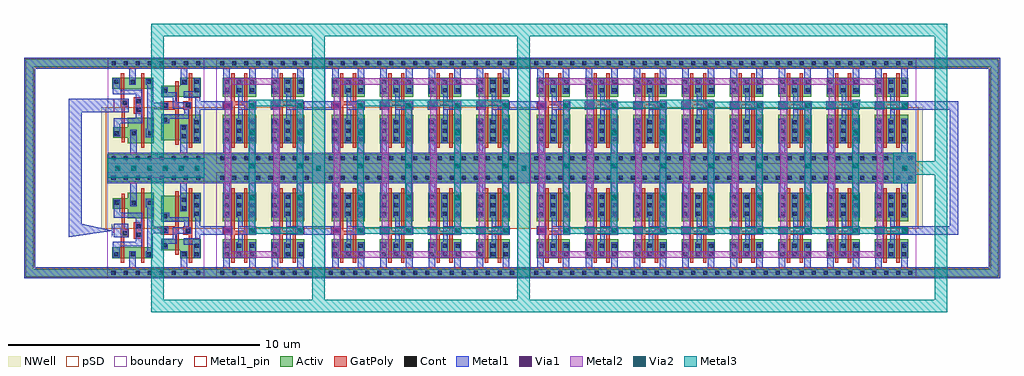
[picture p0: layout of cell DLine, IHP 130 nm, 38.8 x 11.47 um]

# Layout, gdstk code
import gdstk
lib = gdstk.Library(unit=1e-6, precision=1e-09)
def R(c, l, rs):  # rectangles x0, y0, x1, y1
    for r in rs: c.add(gdstk.rectangle(r[:2], r[2:], *l))
def A(c, l, x, y, w, h, nx, ny, dx, dy):  # array of equal rectangles
    R(c, l, [(x+i*dx, y+j*dy, x+i*dx+w, y+j*dy+h) for i in range(nx) for j in range(ny)])
def P(c, l, *ps):  # polygons
    for p in ps: c.add(gdstk.Polygon(p, *l))
Activ = (1, 0)
GatPoly = (5, 0)
Cont = (6, 0)
Metal1 = (8, 0)
Metal1_pin = (8, 2)
Metal2 = (10, 0)
pSD = (14, 0)
Via1 = (19, 0)
Via2 = (29, 0)
Metal3 = (30, 0)
NWell = (31, 0)
boundary = (189, 4)

sg13g2_dlygate4sd1_1 = lib.new_cell('sg13g2_dlygate4sd1_1')
R(sg13g2_dlygate4sd1_1, Activ, [(0,-0.15,3.84,0.15), (0.19,0.59,1.81,1.01), (0,3.63,3.84,3.93)])
P(sg13g2_dlygate4sd1_1, Activ, [(2.895,0.59),(2.895,0.91),(2.13,0.91),(2.13,1.33),(3.705,1.33),(3.705,0.59)],
  [(2.13,2.06),(2.13,3.06),(2.91,3.06),(2.91,3.18),(3.705,3.18),(3.705,2.06)],
  [(0.8,2.18),(0.8,2.555),(0.22,2.555),(0.22,2.975),(0.8,2.975),(0.8,3.18),(1.84,3.18),(1.84,2.18)])
P(sg13g2_dlygate4sd1_1, GatPoly, [(2.695,0.73),(2.695,1.52),(2.12,1.52),(2.12,1.85),(2.695,1.85),(2.695,3.24),(2.825,3.24),(2.825,0.73)],
  [(0.53,0.41),(0.53,1.74),(0.56,1.74),(0.56,3.155),(0.69,3.155),(0.69,1.74),(0.84,1.74),(0.84,1.41),(0.66,1.41),(0.66,0.41)],
  [(1.34,0.41),(1.34,1.35),(1.05,1.35),(1.05,2.02),(1.34,2.02),(1.34,3.36),(1.47,3.36),(1.47,0.41)],
  [(3.235,0.41),(3.235,1.515),(3.02,1.515),(3.02,1.845),(3.235,1.845),(3.235,3.36),(3.365,3.36),(3.365,0.41)])
A(sg13g2_dlygate4sd1_1, Cont, 0.16, -0.08, 0.16, 0.16, 8, 2, 0.48, 3.78)
A(sg13g2_dlygate4sd1_1, Cont, 0.26, 0.66, 0.16, 0.16, 3, 1, 0.66, 0)
A(sg13g2_dlygate4sd1_1, Cont, 3.475, 2.27, 0.16, 0.16, 1, 3, 0, 0.34)
R(sg13g2_dlygate4sd1_1, Cont, [(2.965,0.66,3.125,0.82), (3.475,0.66,3.635,0.82), (3.475,1,3.635,1.16), (2.2,1.015,2.36,1.175), (1.165,1.435,1.325,1.595), (0.605,1.495,0.765,1.655), (3.105,1.6,3.265,1.76), (2.205,1.605,2.365,1.765), (1.165,1.775,1.325,1.935), (2.215,2.165,2.375,2.325), (2.95,2.495,3.11,2.655), (0.29,2.7,0.45,2.86), (0.96,2.7,1.12,2.86), (1.61,2.7,1.77,2.86), (2.95,2.835,3.11,2.995)])
R(sg13g2_dlygate4sd1_1, Metal1, [(3.025,1.12,3.685,1.37), (0.24,1.425,0.835,1.945)])
P(sg13g2_dlygate4sd1_1, Metal1, [(2.155,0.96),(2.155,1.36),(2.595,1.36),(2.595,1.81),(3.045,1.81),(3.045,2.03),(2.14,2.03),(2.14,2.395),(2.45,2.395),(2.45,2.205),(3.235,2.205),(3.235,1.81),(3.315,1.81),(3.315,1.55),(2.755,1.55),(2.755,1.16),(2.395,1.16),(2.395,0.96)],
  [(3.425,0.61),(3.425,1.37),(3.495,1.37),(3.495,2.22),(3.43,2.22),(3.43,3.16),(3.685,3.16),(3.685,0.61)],
  [(1.52,0.615),(1.52,0.87),(1.58,0.87),(1.58,2.615),(1.52,2.615),(1.52,2.945),(1.825,2.945),(1.825,1.83),(2.415,1.83),(2.415,1.57),(1.81,1.57),(1.81,0.615)],
  [(0.21,0.61),(0.21,1.24),(1.12,1.24),(1.12,2.195),(0.24,2.195),(0.24,2.91),(0.5,2.91),(0.5,2.4),(1.375,2.4),(1.375,1.065),(0.48,1.065),(0.48,0.61)],
  [(2.9,2.455),(2.9,3.56),(1.17,3.56),(1.17,2.65),(0.91,2.65),(0.91,3.56),(0,3.56),(0,4),(3.84,4),(3.84,3.56),(3.16,3.56),(3.16,2.455)],
  [(0,-0.22),(0,0.22),(0.87,0.22),(0.87,0.87),(1.13,0.87),(1.13,0.22),(2.915,0.22),(2.915,0.87),(3.175,0.87),(3.175,0.22),(3.84,0.22),(3.84,-0.22)])
R(sg13g2_dlygate4sd1_1, Metal1_pin, [(0,-0.22,3.84,0.22), (3.025,1.12,3.685,1.37), (0.24,1.425,0.835,1.945), (0,3.56,3.84,4)])
R(sg13g2_dlygate4sd1_1, pSD, [(-0.07,-0.18,3.91,0.18), (-0.07,1.76,3.91,3.6)])
R(sg13g2_dlygate4sd1_1, NWell, [(-0.24,1.75,4.08,4.17)])
R(sg13g2_dlygate4sd1_1, boundary, [(0,0,3.84,3.78)])
sg13g2_dlygate4sd1_1.add(gdstk.Label('X', (3.36,1.26), layer=8, texttype=25))
sg13g2_dlygate4sd1_1.add(gdstk.Label('VDD', (2.085,3.79), layer=8, texttype=25))
sg13g2_dlygate4sd1_1.add(gdstk.Label('VSS', (2.2,0.005), layer=8, texttype=25))
sg13g2_dlygate4sd1_1.add(gdstk.Label('A', (0.52,1.68), layer=8, texttype=25))

sg13g2_inv_2 = lib.new_cell('sg13g2_inv_2')
R(sg13g2_inv_2, Activ, [(0,-0.15,1.92,0.15), (0.265,0.59,1.585,1.33), (0.265,2.06,1.59,3.18), (0,3.63,1.92,3.93)])
P(sg13g2_inv_2, GatPoly, [(0.605,0.41),(0.605,1.52),(0.305,1.52),(0.305,1.85),(0.605,1.85),(0.605,3.36),(0.735,3.36),(0.735,1.67),(1.115,1.67),(1.115,3.36),(1.245,3.36),(1.245,0.41),(1.115,0.41),(1.115,1.52),(0.735,1.52),(0.735,0.41)])
A(sg13g2_inv_2, Cont, 0.335, 0.66, 0.16, 0.16, 3, 2, 0.51, 0.34)
A(sg13g2_inv_2, Cont, 0.335, 2.27, 0.16, 0.16, 1, 3, 0, 0.34)
A(sg13g2_inv_2, Cont, 0.845, 2.27, 0.16, 0.16, 1, 3, 0, 0.34)
A(sg13g2_inv_2, Cont, 1.36, 2.27, 0.16, 0.16, 1, 3, 0, 0.34)
R(sg13g2_inv_2, Cont, [(0.16,-0.08,0.32,0.08), (0.16,-0.08,0.32,0.08), (0.64,-0.08,0.8,0.08), (0.64,-0.08,0.8,0.08), (1.12,-0.08,1.28,0.08), (1.12,-0.08,1.28,0.08), (1.6,-0.08,1.76,0.08), (1.6,-0.08,1.76,0.08), (0.39,1.605,0.55,1.765), (0.16,3.7,0.32,3.86), (0.16,3.7,0.32,3.86), (0.64,3.7,0.8,3.86), (0.64,3.7,0.8,3.86), (1.12,3.7,1.28,3.86), (1.12,3.7,1.28,3.86), (1.6,3.7,1.76,3.86), (1.6,3.7,1.76,3.86)])
R(sg13g2_inv_2, Metal1, [(0.255,1.52,0.635,1.85)])
P(sg13g2_inv_2, Metal1, [(0.285,2.22),(0.285,3.56),(0,3.56),(0,4),(1.92,4),(1.92,3.56),(1.57,3.56),(1.57,2.22),(1.31,2.22),(1.31,3.56),(0.545,3.56),(0.545,2.22)],
  [(0,-0.22),(0,0.22),(0.285,0.22),(0.285,1.21),(0.545,1.21),(0.545,0.22),(1.305,0.22),(1.305,1.21),(1.565,1.21),(1.565,0.22),(1.92,0.22),(1.92,-0.22)],
  [(0.795,0.61),(0.795,1.21),(0.87,1.21),(0.87,2.22),(0.795,2.22),(0.795,3.18),(1.055,3.18),(1.055,1.85),(1.59,1.85),(1.59,1.52),(1.055,1.52),(1.055,0.61)])
R(sg13g2_inv_2, Metal1_pin, [(0,-0.22,1.92,0.22), (0.255,1.52,0.635,1.85), (0.87,1.52,1.59,1.85), (0,3.56,1.92,4)])
R(sg13g2_inv_2, pSD, [(-0.07,-0.18,1.99,0.18), (-0.07,1.76,1.99,3.6)])
R(sg13g2_inv_2, NWell, [(-0.24,1.75,2.16,4.17)])
R(sg13g2_inv_2, boundary, [(0,0,1.92,3.78)])
sg13g2_inv_2.add(gdstk.Label('VSS', (0.89,0), layer=8, texttype=25))
sg13g2_inv_2.add(gdstk.Label('VDD', (0.935,3.785), layer=8, texttype=25))
sg13g2_inv_2.add(gdstk.Label('Y', (1.44,1.68), layer=8, texttype=25))
sg13g2_inv_2.add(gdstk.Label('A', (0.48,1.68), layer=8, texttype=25))

dline = lib.new_cell('DLine')
R(dline, Activ, [(1.07,-0.15,1.22,8.49), (1.22,-0.15,4.318,0.145), (1.22,-0.15,1.37,8.49), (8.158,-0.15,8.64,0.15), (12.475,-0.15,12.96,0.15), (20.64,-0.15,21.122,0.15), (36.48,-0.15,39.58,0.15), (39.43,-0.15,39.58,8.49), (39.58,-0.15,39.73,8.49), (4.318,3.63,36.48,4.71), (8.158,3.63,8.64,3.93), (12.478,3.63,12.96,3.93), (20.638,3.63,21.12,3.93), (8.158,4.41,8.64,4.71), (12.478,4.41,12.96,4.71), (20.638,4.41,21.12,4.71), (1.22,8.19,4.32,8.49), (8.158,8.19,8.64,8.49), (12.478,8.19,12.96,8.49), (20.64,8.19,21.122,8.49)])
P(dline, Activ, [(36.48,8.19),(36.48,8.325),(36.48,8.49),(39.58,8.49),(39.58,8.19),(36.55,8.19)])
R(dline, Metal1, [(8.158,-0.22,8.64,0.22), (12.475,-0.22,12.96,0.22), (20.64,-0.22,21.122,0.22), (4.32,3.56,36.48,4.78), (8.158,3.56,8.64,4), (12.478,3.56,12.96,4), (20.638,3.56,21.12,4), (8.158,4.34,8.64,4.78), (12.478,4.34,12.96,4.78), (20.638,4.34,21.12,4.78), (8.158,8.12,8.64,8.56), (12.478,8.12,12.96,8.56), (20.64,8.12,21.122,8.56)])
R(dline, Metal2, [(12.453,3.56,12.95,4.78), (20.61,3.56,21.145,4.78), (35.565,3.56,36.48,4.78), (4.32,3.78,8.158,4.56)])
R(dline, pSD, [(1.04,-0.18,4.248,0.18), (8.228,-0.18,8.57,0.18), (12.545,-0.18,12.89,0.18), (20.71,-0.18,21.052,0.18), (36.55,-0.18,39.4,0.18), (39.4,-0.18,39.76,8.16), (1.04,0.18,1.4,8.52), (4.248,1.76,36.55,6.58), (8.228,1.76,8.57,3.6), (12.549,1.76,12.89,3.6), (20.71,1.76,21.05,3.6), (8.23,4.74,8.57,6.58), (12.55,4.74,12.89,6.58), (20.71,4.74,21.05,6.58), (1.4,8.16,4.25,8.52), (8.228,8.16,8.57,8.52), (12.548,8.16,12.89,8.52), (20.71,8.16,21.052,8.52), (36.55,8.16,36.552,8.52), (36.552,8.16,39.76,8.52)])
P(dline, pSD, [(36.552,8.16),(36.552,8.16),(36.552,8.16),(36.552,8.16)])
A(dline, Via1, 9.015, 1.59, 0.19, 0.19, 3, 1, 0.96, 0)
A(dline, Via1, 30.13, 1.59, 0.19, 0.19, 3, 1, 0.965, 0)
A(dline, Via1, 31.095, 6.555, 0.19, 0.19, 3, 1, 0.96, 0)
R(dline, Via1, [(11.88,1.59,12.07,1.78), (13.34,1.59,13.53,1.78), (14.285,1.59,14.475,1.78), (15.26,1.59,15.45,1.78), (16.2,1.59,16.39,1.78), (17.175,1.59,17.365,1.78), (18.14,1.59,18.33,1.78), (19.1,1.59,19.29,1.78), (20.04,1.59,20.23,1.78), (21.495,1.59,21.685,1.78), (22.46,1.59,22.65,1.78), (23.41,1.59,23.6,1.78), (24.365,1.59,24.555,1.78), (25.335,1.59,25.525,1.78), (26.295,1.59,26.485,1.78), (27.25,1.59,27.44,1.78), (28.2,1.59,28.39,1.78), (29.175,1.59,29.365,1.78), (33.01,1.59,33.2,1.78), (33.955,1.59,34.145,1.78), (34.935,1.59,35.125,1.78), (35.9,1.59,36.09,1.78), (5.895,4.065,6.085,4.255), (7.785,4.065,7.975,4.255), (12.61,4.065,12.8,4.255), (20.78,4.065,20.97,4.255), (20.78,4.065,20.97,4.255), (35.915,4.065,36.105,4.255), (4.635,4.07,4.825,4.26), (5.265,4.07,5.455,4.26), (6.525,4.07,6.715,4.26), (7.155,4.07,7.345,4.26), (9.01,6.555,9.2,6.745), (9.97,6.555,10.16,6.745), (10.935,6.555,11.125,6.745), (11.875,6.555,12.065,6.745), (13.335,6.555,13.525,6.745), (14.28,6.555,14.47,6.745), (15.255,6.555,15.445,6.745), (16.195,6.555,16.385,6.745), (17.18,6.555,17.37,6.745), (18.135,6.555,18.325,6.745), (19.095,6.555,19.285,6.745), (20.035,6.555,20.225,6.745), (21.505,6.555,21.695,6.745), (22.455,6.555,22.645,6.745), (23.41,6.555,23.6,6.745), (24.36,6.555,24.55,6.745), (25.335,6.555,25.525,6.745), (26.29,6.555,26.48,6.745), (27.255,6.555,27.445,6.745), (28.195,6.555,28.385,6.745), (29.175,6.555,29.365,6.745), (30.125,6.555,30.315,6.745), (33.95,6.555,34.14,6.745), (35.895,6.555,36.085,6.745), (34.935,6.56,35.125,6.75)])
R(dline, Via2, [(9.975,1.59,10.165,1.78), (9.975,1.59,10.165,1.78), (11.88,1.59,12.07,1.78), (11.88,1.59,12.07,1.78), (14.285,1.59,14.475,1.78), (14.285,1.59,14.475,1.78), (16.19,1.59,16.38,1.78), (16.19,1.59,16.38,1.78), (18.14,1.59,18.33,1.78), (18.14,1.59,18.33,1.78), (20.045,1.59,20.235,1.78), (20.045,1.59,20.235,1.78), (22.46,1.59,22.65,1.78), (22.46,1.59,22.65,1.78), (24.365,1.59,24.555,1.78), (24.365,1.59,24.555,1.78), (26.3,1.59,26.49,1.78), (26.3,1.59,26.49,1.78), (28.205,1.59,28.395,1.78), (28.205,1.59,28.395,1.78), (30.16,1.59,30.35,1.78), (30.16,1.59,30.35,1.78), (30.16,1.59,30.35,1.78), (30.16,1.59,30.35,1.78), (32.065,1.59,32.255,1.78), (32.065,1.59,32.255,1.78), (32.065,1.59,32.255,1.78), (32.065,1.59,32.255,1.78), (33.955,1.59,34.145,1.78), (33.955,1.59,34.145,1.78), (33.955,1.59,34.145,1.78), (33.955,1.59,34.145,1.78), (35.9,1.59,36.09,1.78), (35.9,1.59,36.09,1.78), (35.9,1.59,36.09,1.78), (35.9,1.59,36.09,1.78), (9.98,2.895,10.17,3.085), (11.88,2.895,12.07,3.085), (14.28,2.895,14.47,3.085), (16.205,2.895,16.395,3.085), (18.14,2.895,18.33,3.085), (20.045,2.895,20.235,3.085), (22.46,2.895,22.65,3.085), (24.365,2.895,24.555,3.085), (26.3,2.895,26.49,3.085), (28.21,2.895,28.4,3.085), (30.145,2.895,30.335,3.085), (32.07,2.895,32.26,3.085), (33.955,2.895,34.145,3.085), (5.895,4.065,6.085,4.255), (7.785,4.065,7.975,4.255), (12.61,4.065,12.8,4.255), (20.78,4.065,20.97,4.255), (35.915,4.065,36.105,4.255), (4.635,4.07,4.825,4.26), (5.265,4.07,5.455,4.26), (6.525,4.07,6.715,4.26), (7.155,4.07,7.345,4.26), (9.98,4.17,10.17,4.36), (11.88,4.17,12.07,4.36), (14.28,4.17,14.47,4.36), (16.205,4.17,16.395,4.36), (18.14,4.17,18.33,4.36), (20.045,4.17,20.235,4.36), (22.46,4.17,22.65,4.36), (24.365,4.17,24.555,4.36), (26.3,4.17,26.49,4.36), (28.21,4.17,28.4,4.36), (30.145,4.17,30.335,4.36), (32.07,4.17,32.26,4.36), (33.955,4.17,34.145,4.36), (9.98,5.48,10.17,5.67), (11.88,5.48,12.07,5.67), (14.28,5.48,14.47,5.67), (16.205,5.48,16.395,5.67), (18.14,5.48,18.33,5.67), (20.045,5.48,20.235,5.67), (22.46,5.48,22.65,5.67), (24.365,5.48,24.555,5.67), (26.3,5.48,26.49,5.67), (28.21,5.48,28.4,5.67), (30.145,5.48,30.335,5.67), (32.07,5.48,32.26,5.67), (33.955,5.48,34.145,5.67), (9.97,6.555,10.16,6.745), (9.97,6.555,10.16,6.745), (11.875,6.555,12.065,6.745), (11.875,6.555,12.065,6.745), (14.28,6.555,14.47,6.745), (14.28,6.555,14.47,6.745), (16.185,6.555,16.375,6.745), (16.185,6.555,16.375,6.745), (18.135,6.555,18.325,6.745), (18.135,6.555,18.325,6.745), (20.04,6.555,20.23,6.745), (20.04,6.555,20.23,6.745), (22.455,6.555,22.645,6.745), (22.455,6.555,22.645,6.745), (24.36,6.555,24.55,6.745), (24.36,6.555,24.55,6.745), (26.295,6.555,26.485,6.745), (26.295,6.555,26.485,6.745), (28.2,6.555,28.39,6.745), (28.2,6.555,28.39,6.745), (30.155,6.555,30.345,6.745), (30.155,6.555,30.345,6.745), (30.155,6.555,30.345,6.745), (30.155,6.555,30.345,6.745), (32.06,6.555,32.25,6.745), (32.06,6.555,32.25,6.745), (32.06,6.555,32.25,6.745), (32.06,6.555,32.25,6.745), (33.95,6.555,34.14,6.745), (33.95,6.555,34.14,6.745), (33.95,6.555,34.14,6.745), (33.95,6.555,34.14,6.745), (35.895,6.555,36.085,6.745), (35.895,6.555,36.085,6.745), (35.895,6.555,36.085,6.745), (35.895,6.555,36.085,6.745)])
R(dline, Metal3, [(12.452,3.56,12.953,4.78), (35.565,3.56,36.48,4.78), (4.32,3.78,8.158,4.56)])
P(dline, Metal3, [(20.615,3.56),(20.615,4.78),(21.115,4.78),(21.115,4.74),(21.115,3.56)])
dline.add(gdstk.FlexPath([(36.48,0),(39.58,0),(39.58,8.34),(36.482,8.34),(36.48,8.34)], 0.44, ends="flush", simple_path=True, layer=8, datatype=0))  # Metal1
dline.add(gdstk.FlexPath([(4.32,8.34),(1.22,8.34),(1.22,0),(4.318,0),(4.318,0),(4.318,0)], 0.44, ends="flush", simple_path=True, layer=8, datatype=0))  # Metal1
dline.add(gdstk.FlexPath([(4.56,6.655),(3.03,6.655),(3.03,1.685),(4.558,1.685),(4.48,1.685)], 0.52, ends="flush", simple_path=True, layer=8, datatype=0))  # Metal1
dline.add(gdstk.FlexPath([(8.895,1.685),(8.003,1.685)], 0.33, ends="flush", simple_path=True, layer=8, datatype=0))  # Metal1
dline.add(gdstk.FlexPath([(8.895,6.655),(8.003,6.655)], 0.33, ends="flush", simple_path=True, layer=8, datatype=0))  # Metal1
dline.add(gdstk.FlexPath([(13.215,1.685),(12.145,1.685)], 0.33, ends="flush", simple_path=True, layer=8, datatype=0))  # Metal1
dline.add(gdstk.FlexPath([(13.215,6.655),(12.145,6.655)], 0.33, ends="flush", simple_path=True, layer=8, datatype=0))  # Metal1
dline.add(gdstk.FlexPath([(21.38,6.655),(20.31,6.655)], 0.33, ends="flush", simple_path=True, layer=8, datatype=0))  # Metal1
dline.add(gdstk.FlexPath([(36.15,6.655),(37.97,6.655),(37.97,1.685),(36.15,1.685)], 0.33, ends="flush", simple_path=True, layer=8, datatype=0))  # Metal1
dline.add(gdstk.FlexPath([(13.435,0.73),(13.435,7.73)], 0.26, ends="flush", simple_path=True, layer=10, datatype=0))  # Metal2
dline.add(gdstk.FlexPath([(15.365,0.74),(15.365,7.735)], 0.26, ends="flush", simple_path=True, layer=10, datatype=0))  # Metal2
dline.add(gdstk.FlexPath([(13.305,0.73),(15.495,0.73)], 0.26, ends="flush", simple_path=True, layer=10, datatype=0))  # Metal2
dline.add(gdstk.FlexPath([(13.305,7.605),(15.495,7.605)], 0.26, ends="flush", simple_path=True, layer=10, datatype=0))  # Metal2
dline.add(gdstk.FlexPath([(15.35,0.73),(15.35,7.73)], 0.26, ends="flush", simple_path=True, layer=10, datatype=0))  # Metal2
dline.add(gdstk.FlexPath([(17.28,0.74),(17.28,7.735)], 0.26, ends="flush", simple_path=True, layer=10, datatype=0))  # Metal2
dline.add(gdstk.FlexPath([(15.22,0.73),(17.41,0.73)], 0.26, ends="flush", simple_path=True, layer=10, datatype=0))  # Metal2
dline.add(gdstk.FlexPath([(15.22,7.605),(17.41,7.605)], 0.26, ends="flush", simple_path=True, layer=10, datatype=0))  # Metal2
dline.add(gdstk.FlexPath([(17.275,0.73),(17.275,7.73)], 0.26, ends="flush", simple_path=True, layer=10, datatype=0))  # Metal2
dline.add(gdstk.FlexPath([(19.205,0.74),(19.205,7.735)], 0.26, ends="flush", simple_path=True, layer=10, datatype=0))  # Metal2
dline.add(gdstk.FlexPath([(17.145,0.73),(19.335,0.73)], 0.26, ends="flush", simple_path=True, layer=10, datatype=0))  # Metal2
dline.add(gdstk.FlexPath([(17.145,7.605),(19.335,7.605)], 0.26, ends="flush", simple_path=True, layer=10, datatype=0))  # Metal2
dline.add(gdstk.FlexPath([(23.515,0.73),(23.515,7.73)], 0.26, ends="flush", simple_path=True, layer=10, datatype=0))  # Metal2
dline.add(gdstk.FlexPath([(25.43,0.74),(25.43,7.735)], 0.26, ends="flush", simple_path=True, layer=10, datatype=0))  # Metal2
dline.add(gdstk.FlexPath([(23.385,0.73),(25.575,0.73)], 0.26, ends="flush", simple_path=True, layer=10, datatype=0))  # Metal2
dline.add(gdstk.FlexPath([(23.385,7.615),(25.575,7.615)], 0.26, ends="flush", simple_path=True, layer=10, datatype=0))  # Metal2
dline.add(gdstk.FlexPath([(21.46,7.605),(23.635,7.605)], 0.26, ends="flush", simple_path=True, layer=10, datatype=0))  # Metal2
dline.add(gdstk.FlexPath([(21.46,0.73),(23.635,0.73)], 0.26, ends="flush", simple_path=True, layer=10, datatype=0))  # Metal2
dline.add(gdstk.FlexPath([(23.505,0.74),(23.505,7.735)], 0.26, ends="flush", simple_path=True, layer=10, datatype=0))  # Metal2
dline.add(gdstk.FlexPath([(21.59,0.73),(21.59,7.73)], 0.26, ends="flush", simple_path=True, layer=10, datatype=0))  # Metal2
dline.add(gdstk.FlexPath([(29.275,0.73),(29.275,7.73)], 0.26, ends="flush", simple_path=True, layer=10, datatype=0))  # Metal2
dline.add(gdstk.FlexPath([(31.205,0.74),(31.205,7.735)], 0.26, ends="flush", simple_path=True, layer=10, datatype=0))  # Metal2
dline.add(gdstk.FlexPath([(29.145,0.73),(31.335,0.73)], 0.26, ends="flush", simple_path=True, layer=10, datatype=0))  # Metal2
dline.add(gdstk.FlexPath([(29.145,7.605),(31.335,7.605)], 0.26, ends="flush", simple_path=True, layer=10, datatype=0))  # Metal2
dline.add(gdstk.FlexPath([(27.205,7.605),(29.395,7.605)], 0.26, ends="flush", simple_path=True, layer=10, datatype=0))  # Metal2
dline.add(gdstk.FlexPath([(27.205,0.73),(29.395,0.73)], 0.26, ends="flush", simple_path=True, layer=10, datatype=0))  # Metal2
dline.add(gdstk.FlexPath([(27.335,0.73),(27.335,7.73)], 0.26, ends="flush", simple_path=True, layer=10, datatype=0))  # Metal2
dline.add(gdstk.FlexPath([(27.35,1.52),(27.35,6.82)], 0.26, ends="flush", simple_path=True, layer=10, datatype=0))  # Metal2
dline.add(gdstk.FlexPath([(31.19,1.52),(31.19,6.82)], 0.26, ends="flush", simple_path=True, layer=10, datatype=0))  # Metal2
dline.add(gdstk.FlexPath([(35.03,0.6),(35.03,7.57)], 0.26, ends="flush", simple_path=True, layer=10, datatype=0))  # Metal2
dline.add(gdstk.FlexPath([(25.315,7.615),(27.505,7.615)], 0.26, ends="flush", simple_path=True, layer=10, datatype=0))  # Metal2
dline.add(gdstk.FlexPath([(25.285,0.73),(27.475,0.73)], 0.26, ends="flush", simple_path=True, layer=10, datatype=0))  # Metal2
dline.add(gdstk.FlexPath([(31.185,0.73),(31.185,7.73)], 0.26, ends="flush", simple_path=True, layer=10, datatype=0))  # Metal2
dline.add(gdstk.FlexPath([(33.115,0.735),(33.115,7.73)], 0.26, ends="flush", simple_path=True, layer=10, datatype=0))  # Metal2
dline.add(gdstk.FlexPath([(31.07,0.73),(33.26,0.73)], 0.26, ends="flush", simple_path=True, layer=10, datatype=0))  # Metal2
dline.add(gdstk.FlexPath([(31.07,7.605),(33.26,7.605)], 0.26, ends="flush", simple_path=True, layer=10, datatype=0))  # Metal2
dline.add(gdstk.FlexPath([(33.115,1.52),(33.115,6.82)], 0.26, ends="flush", simple_path=True, layer=10, datatype=0))  # Metal2
dline.add(gdstk.FlexPath([(31.19,1.52),(31.19,6.82)], 0.26, ends="flush", simple_path=True, layer=10, datatype=0))  # Metal2
dline.add(gdstk.FlexPath([(33.11,1.52),(33.11,6.82)], 0.26, ends="flush", simple_path=True, layer=10, datatype=0))  # Metal2
dline.add(gdstk.FlexPath([(32.97,0.73),(35.16,0.73)], 0.26, ends="flush", simple_path=True, layer=10, datatype=0))  # Metal2
dline.add(gdstk.FlexPath([(32.975,7.605),(35.165,7.605)], 0.26, ends="flush", simple_path=True, layer=10, datatype=0))  # Metal2
dline.add(gdstk.FlexPath([(18.235,1.52),(18.235,1.71),(18.235,6.82)], 0.26, ends="flush", simple_path=True, layer=10, datatype=0))  # Metal2
dline.add(gdstk.FlexPath([(9.11,0.73),(9.11,7.73)], 0.26, ends="flush", simple_path=True, layer=10, datatype=0))  # Metal2
dline.add(gdstk.FlexPath([(11.04,0.74),(11.04,7.735)], 0.26, ends="flush", simple_path=True, layer=10, datatype=0))  # Metal2
dline.add(gdstk.FlexPath([(13.435,1.52),(13.435,6.82)], 0.26, ends="flush", simple_path=True, layer=10, datatype=0))  # Metal2
dline.add(gdstk.FlexPath([(15.355,1.52),(15.355,6.82)], 0.26, ends="flush", simple_path=True, layer=10, datatype=0))  # Metal2
dline.add(gdstk.FlexPath([(17.275,1.52),(17.275,6.82)], 0.26, ends="flush", simple_path=True, layer=10, datatype=0))  # Metal2
dline.add(gdstk.FlexPath([(19.2,1.52),(19.2,6.82)], 0.26, ends="flush", simple_path=True, layer=10, datatype=0))  # Metal2
dline.add(gdstk.FlexPath([(21.59,1.52),(21.59,6.82)], 0.26, ends="flush", simple_path=True, layer=10, datatype=0))  # Metal2
dline.add(gdstk.FlexPath([(23.515,1.52),(23.515,6.82)], 0.26, ends="flush", simple_path=True, layer=10, datatype=0))  # Metal2
dline.add(gdstk.FlexPath([(25.43,1.52),(25.43,6.82)], 0.26, ends="flush", simple_path=True, layer=10, datatype=0))  # Metal2
dline.add(gdstk.FlexPath([(27.35,1.52),(27.35,6.82)], 0.26, ends="flush", simple_path=True, layer=10, datatype=0))  # Metal2
dline.add(gdstk.FlexPath([(29.265,1.52),(29.265,6.82)], 0.26, ends="flush", simple_path=True, layer=10, datatype=0))  # Metal2
dline.add(gdstk.FlexPath([(31.185,1.52),(31.185,6.82)], 0.26, ends="flush", simple_path=True, layer=10, datatype=0))  # Metal2
dline.add(gdstk.FlexPath([(33.11,1.52),(33.11,6.82)], 0.26, ends="flush", simple_path=True, layer=10, datatype=0))  # Metal2
dline.add(gdstk.FlexPath([(35.025,1.52),(35.025,6.82)], 0.26, ends="flush", simple_path=True, layer=10, datatype=0))  # Metal2
dline.add(gdstk.FlexPath([(10.07,1.52),(10.07,6.82)], 0.26, ends="flush", simple_path=True, layer=10, datatype=0))  # Metal2
dline.add(gdstk.FlexPath([(11.975,1.52),(11.975,6.82)], 0.26, ends="flush", simple_path=True, layer=10, datatype=0))  # Metal2
dline.add(gdstk.FlexPath([(14.38,1.52),(14.38,6.82)], 0.26, ends="flush", simple_path=True, layer=10, datatype=0))  # Metal2
dline.add(gdstk.FlexPath([(16.295,1.52),(16.295,6.82)], 0.26, ends="flush", simple_path=True, layer=10, datatype=0))  # Metal2
dline.add(gdstk.FlexPath([(20.135,1.52),(20.135,6.82)], 0.26, ends="flush", simple_path=True, layer=10, datatype=0))  # Metal2
dline.add(gdstk.FlexPath([(22.555,1.52),(22.555,6.82)], 0.26, ends="flush", simple_path=True, layer=10, datatype=0))  # Metal2
dline.add(gdstk.FlexPath([(24.46,1.52),(24.46,6.82)], 0.26, ends="flush", simple_path=True, layer=10, datatype=0))  # Metal2
dline.add(gdstk.FlexPath([(26.39,1.52),(26.39,6.82)], 0.26, ends="flush", simple_path=True, layer=10, datatype=0))  # Metal2
dline.add(gdstk.FlexPath([(28.295,1.52),(28.295,6.82)], 0.26, ends="flush", simple_path=True, layer=10, datatype=0))  # Metal2
dline.add(gdstk.FlexPath([(30.225,1.52),(30.225,6.82)], 0.26, ends="flush", simple_path=True, layer=10, datatype=0))  # Metal2
dline.add(gdstk.FlexPath([(32.155,1.52),(32.155,6.82)], 0.26, ends="flush", simple_path=True, layer=10, datatype=0))  # Metal2
dline.add(gdstk.FlexPath([(34.05,1.52),(34.05,6.82)], 0.26, ends="flush", simple_path=True, layer=10, datatype=0))  # Metal2
dline.add(gdstk.FlexPath([(8.98,0.73),(11.17,0.73)], 0.26, ends="flush", simple_path=True, layer=10, datatype=0))  # Metal2
dline.add(gdstk.FlexPath([(8.98,7.605),(11.17,7.605)], 0.26, ends="flush", simple_path=True, layer=10, datatype=0))  # Metal2
dline.add(gdstk.FlexPath([(22.555,6.665),(36.127,6.665)], 0.26, ends="flush", simple_path=True, layer=30, datatype=0))  # Metal3
dline.add(gdstk.FlexPath([(32.163,1.547),(32.163,6.675),(30.13,6.675)], 0.26, ends="flush", simple_path=True, layer=30, datatype=0))  # Metal3
dline.add(gdstk.FlexPath([(32.163,1.547),(32.163,6.675),(30.13,6.675)], 0.26, ends="flush", simple_path=True, layer=30, datatype=0))  # Metal3
dline.add(gdstk.FlexPath([(30.245,1.547),(30.245,6.675),(28.212,6.675)], 0.26, ends="flush", simple_path=True, layer=30, datatype=0))  # Metal3
dline.add(gdstk.FlexPath([(12.703,4.78),(12.703,9.655),(6.305,9.655),(6.305,4.56),(6.305,4.56),(6.305,4.56),(6.305,4.56)], 0.5, ends="flush", simple_path=True, layer=30, datatype=0))  # Metal3
dline.add(gdstk.FlexPath([(12.703,9.655),(20.785,9.655),(20.865,9.655),(20.865,4.71)], 0.5, ends="flush", simple_path=True, layer=30, datatype=0))  # Metal3
dline.add(gdstk.FlexPath([(20.865,9.655),(37.46,9.655),(37.46,4.195),(36.48,4.195)], 0.5, ends="flush", simple_path=True, layer=30, datatype=0))  # Metal3
dline.add(gdstk.FlexPath([(12.703,3.56),(12.703,-1.315),(6.305,-1.315),(6.305,3.78),(6.305,3.78),(6.305,3.78),(6.305,3.78)], 0.5, ends="flush", simple_path=True, layer=30, datatype=0))  # Metal3
dline.add(gdstk.FlexPath([(12.703,-1.315),(20.785,-1.315),(20.865,-1.315),(20.865,3.63)], 0.5, ends="flush", simple_path=True, layer=30, datatype=0))  # Metal3
dline.add(gdstk.FlexPath([(20.865,-1.315),(37.46,-1.315),(37.46,4.145),(36.48,4.145)], 0.5, ends="flush", simple_path=True, layer=30, datatype=0))  # Metal3
dline.add(gdstk.FlexPath([(10.07,1.545),(10.07,6.745),(10.262,6.745)], 0.26, ends="flush", simple_path=True, layer=30, datatype=0))  # Metal3
dline.add(gdstk.FlexPath([(11.973,1.545),(11.973,6.745),(9.94,6.745)], 0.26, ends="flush", simple_path=True, layer=30, datatype=0))  # Metal3
dline.add(gdstk.FlexPath([(10.063,1.677),(12.096,1.677)], 0.26, ends="flush", simple_path=True, layer=30, datatype=0))  # Metal3
dline.add(gdstk.FlexPath([(10.07,1.545),(10.07,6.745),(10.262,6.745)], 0.26, ends="flush", simple_path=True, layer=30, datatype=0))  # Metal3
dline.add(gdstk.FlexPath([(11.973,1.545),(11.973,6.745),(9.94,6.745)], 0.26, ends="flush", simple_path=True, layer=30, datatype=0))  # Metal3
dline.add(gdstk.FlexPath([(10.063,1.677),(12.096,1.677)], 0.26, ends="flush", simple_path=True, layer=30, datatype=0))  # Metal3
dline.add(gdstk.FlexPath([(14.373,1.677),(16.406,1.677)], 0.26, ends="flush", simple_path=True, layer=30, datatype=0))  # Metal3
dline.add(gdstk.FlexPath([(16.283,1.545),(16.283,6.745),(14.25,6.745)], 0.26, ends="flush", simple_path=True, layer=30, datatype=0))  # Metal3
dline.add(gdstk.FlexPath([(14.38,1.545),(14.38,6.745),(14.572,6.745)], 0.26, ends="flush", simple_path=True, layer=30, datatype=0))  # Metal3
dline.add(gdstk.FlexPath([(14.373,1.677),(18.23,1.677)], 0.26, ends="flush", simple_path=True, layer=30, datatype=0))  # Metal3
dline.add(gdstk.FlexPath([(16.283,1.545),(16.283,6.745),(14.25,6.745)], 0.26, ends="flush", simple_path=True, layer=30, datatype=0))  # Metal3
dline.add(gdstk.FlexPath([(14.38,1.545),(14.38,6.745),(14.572,6.745)], 0.26, ends="flush", simple_path=True, layer=30, datatype=0))  # Metal3
dline.add(gdstk.FlexPath([(18.23,1.677),(20.263,1.677)], 0.26, ends="flush", simple_path=True, layer=30, datatype=0))  # Metal3
dline.add(gdstk.FlexPath([(20.14,1.545),(20.14,6.745),(18.107,6.745)], 0.26, ends="flush", simple_path=True, layer=30, datatype=0))  # Metal3
dline.add(gdstk.FlexPath([(18.237,1.545),(18.237,6.745),(18.429,6.745)], 0.26, ends="flush", simple_path=True, layer=30, datatype=0))  # Metal3
dline.add(gdstk.FlexPath([(18.23,1.677),(20.263,1.677)], 0.26, ends="flush", simple_path=True, layer=30, datatype=0))  # Metal3
dline.add(gdstk.FlexPath([(20.14,1.545),(20.14,6.745),(18.107,6.745)], 0.26, ends="flush", simple_path=True, layer=30, datatype=0))  # Metal3
dline.add(gdstk.FlexPath([(18.237,1.545),(18.237,6.745),(18.429,6.745)], 0.26, ends="flush", simple_path=True, layer=30, datatype=0))  # Metal3
dline.add(gdstk.FlexPath([(22.553,1.677),(24.586,1.677)], 0.26, ends="flush", simple_path=True, layer=30, datatype=0))  # Metal3
dline.add(gdstk.FlexPath([(24.463,1.545),(24.463,6.745),(22.43,6.745)], 0.26, ends="flush", simple_path=True, layer=30, datatype=0))  # Metal3
dline.add(gdstk.FlexPath([(22.56,1.545),(22.56,6.745),(22.752,6.745)], 0.26, ends="flush", simple_path=True, layer=30, datatype=0))  # Metal3
dline.add(gdstk.FlexPath([(24.463,1.545),(24.463,6.745),(22.43,6.745)], 0.26, ends="flush", simple_path=True, layer=30, datatype=0))  # Metal3
dline.add(gdstk.FlexPath([(22.56,1.545),(22.56,6.745),(22.752,6.745)], 0.26, ends="flush", simple_path=True, layer=30, datatype=0))  # Metal3
dline.add(gdstk.FlexPath([(26.395,1.677),(28.428,1.677)], 0.26, ends="flush", simple_path=True, layer=30, datatype=0))  # Metal3
dline.add(gdstk.FlexPath([(28.305,1.545),(28.305,6.745),(26.272,6.745)], 0.26, ends="flush", simple_path=True, layer=30, datatype=0))  # Metal3
dline.add(gdstk.FlexPath([(26.402,1.545),(26.402,6.745),(26.594,6.745)], 0.26, ends="flush", simple_path=True, layer=30, datatype=0))  # Metal3
dline.add(gdstk.FlexPath([(26.395,1.677),(28.428,1.677)], 0.26, ends="flush", simple_path=True, layer=30, datatype=0))  # Metal3
dline.add(gdstk.FlexPath([(28.305,1.545),(28.305,6.745),(26.272,6.745)], 0.26, ends="flush", simple_path=True, layer=30, datatype=0))  # Metal3
dline.add(gdstk.FlexPath([(26.402,1.545),(26.402,6.745),(26.594,6.745)], 0.26, ends="flush", simple_path=True, layer=30, datatype=0))  # Metal3
dline.add(gdstk.FlexPath([(30.255,1.677),(32.288,1.677)], 0.26, ends="flush", simple_path=True, layer=30, datatype=0))  # Metal3
dline.add(gdstk.FlexPath([(30.255,1.677),(32.288,1.677)], 0.26, ends="flush", simple_path=True, layer=30, datatype=0))  # Metal3
dline.add(gdstk.FlexPath([(30.255,1.677),(32.288,1.677)], 0.26, ends="flush", simple_path=True, layer=30, datatype=0))  # Metal3
dline.add(gdstk.FlexPath([(30.255,1.677),(32.288,1.677)], 0.26, ends="flush", simple_path=True, layer=30, datatype=0))  # Metal3
dline.add(gdstk.FlexPath([(22.553,1.677),(36.125,1.677)], 0.26, ends="flush", simple_path=True, layer=30, datatype=0))  # Metal3
dline.add(gdstk.FlexPath([(34.058,1.545),(34.058,6.745),(34.25,6.745)], 0.26, ends="flush", simple_path=True, layer=30, datatype=0))  # Metal3
dline.add(gdstk.FlexPath([(34.058,1.545),(34.058,6.745),(34.25,6.745)], 0.26, ends="flush", simple_path=True, layer=30, datatype=0))  # Metal3
dline.add(gdstk.FlexPath([(34.058,1.545),(34.058,6.745),(34.25,6.745)], 0.26, ends="flush", simple_path=True, layer=30, datatype=0))  # Metal3
dline.add(gdstk.FlexPath([(34.058,1.545),(34.058,6.745),(34.25,6.745)], 0.26, ends="flush", simple_path=True, layer=30, datatype=0))  # Metal3
dline.add(gdstk.FlexPath([(14.373,6.745),(18.23,6.745)], 0.26, ends="flush", simple_path=True, layer=30, datatype=0))  # Metal3
dline.add(gdstk.Reference(sg13g2_dlygate4sd1_1, (4.32,8.34), x_reflection=True))
dline.add(gdstk.Reference(sg13g2_dlygate4sd1_1, (4.318,0)))
dline.add(gdstk.Reference(sg13g2_inv_2, (8.64,0)))
dline.add(gdstk.Reference(sg13g2_inv_2, (8.64,8.34), x_reflection=True))
dline.add(gdstk.Reference(sg13g2_inv_2, (10.559,0)))
dline.add(gdstk.Reference(sg13g2_inv_2, (10.56,8.34), x_reflection=True))
dline.add(gdstk.Reference(sg13g2_inv_2, (12.96,0)))
dline.add(gdstk.Reference(sg13g2_inv_2, (12.96,8.34), x_reflection=True))
dline.add(gdstk.Reference(sg13g2_inv_2, (14.88,0)))
dline.add(gdstk.Reference(sg13g2_inv_2, (14.88,8.34), x_reflection=True))
dline.add(gdstk.Reference(sg13g2_inv_2, (16.8,0)))
dline.add(gdstk.Reference(sg13g2_inv_2, (16.8,8.34), x_reflection=True))
dline.add(gdstk.Reference(sg13g2_inv_2, (18.72,0)))
dline.add(gdstk.Reference(sg13g2_inv_2, (18.72,8.34), x_reflection=True))
dline.add(gdstk.Reference(sg13g2_inv_2, (21.12,0)))
dline.add(gdstk.Reference(sg13g2_inv_2, (21.12,8.34), x_reflection=True))
dline.add(gdstk.Reference(sg13g2_inv_2, (23.04,0)))
dline.add(gdstk.Reference(sg13g2_inv_2, (24.96,0)))
dline.add(gdstk.Reference(sg13g2_inv_2, (24.96,8.34), x_reflection=True))
dline.add(gdstk.Reference(sg13g2_inv_2, (26.88,0)))
dline.add(gdstk.Reference(sg13g2_inv_2, (26.88,8.34), x_reflection=True))
dline.add(gdstk.Reference(sg13g2_inv_2, (28.8,0)))
dline.add(gdstk.Reference(sg13g2_inv_2, (28.8,8.34), x_reflection=True))
dline.add(gdstk.Reference(sg13g2_inv_2, (30.72,0)))
dline.add(gdstk.Reference(sg13g2_inv_2, (32.64,0)))
dline.add(gdstk.Reference(sg13g2_inv_2, (32.64,8.34), x_reflection=True))
dline.add(gdstk.Reference(sg13g2_inv_2, (34.56,8.34), x_reflection=True))
dline.add(gdstk.Reference(sg13g2_inv_2, (30.72,8.34), x_reflection=True))
dline.add(gdstk.Reference(sg13g2_inv_2, (23.04,8.34), x_reflection=True))
dline.add(gdstk.Reference(sg13g2_inv_2, (34.56,0)))

lib.write_gds('DLine.gds')
